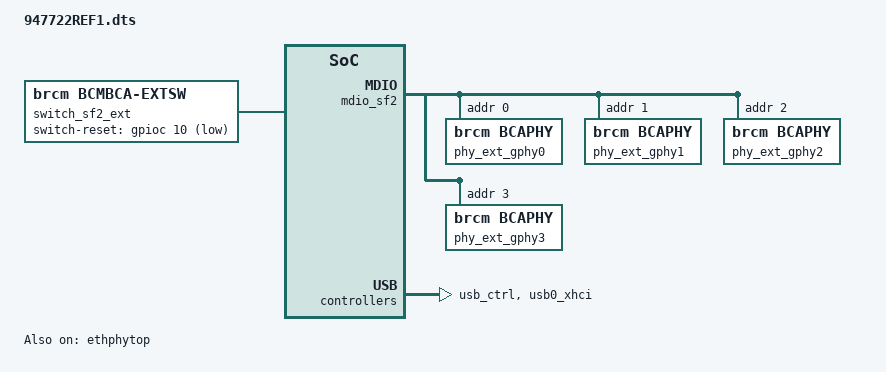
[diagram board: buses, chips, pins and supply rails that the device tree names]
#include "6765.dtsi"

/ {

	memory_controller {
		memcfg = <(BP_DDR_TYPE_DDR4       | \
			BP_DDR_SPEED_1600_22_22_22    | \
			BP_DDR_TOTAL_SIZE_2048MB      | \
			BP_DDR_DEVICE_WIDTH_16        | \
			BP_DDR_TOTAL_WIDTH_16BIT      | \
			BP_DDR_6765_DEFAULT           | \
			BP_DDR_CONFIG_DEBUG)>;
	};
	
	switch_sf2_ext:0 {
	};
};

&sysport {
    ethsw_ext = <&switch_sf2_ext>;
};

&mdio_sf2 {
       /* Port PHY mapping:
            port_imp -8#0- port_xhy <----> phy_xphy
                      # #
                      ##5- port_sgmii <-> phy_serdes <--> port_ext_imp -8#0- port_ext_gphy0 <--> phy_ext_gphy0
                                                                        # 1- port_ext_gphy1 <--> phy_ext_gphy1
                                                                        # 2- port_ext_gphy2 <--> phy_ext_gphy2
                                                                        ##3- port_ext_gphy3 <--> phy_ext_gphy3
         */
	phy_xphy {
		status = "okay";
	};

	phy_serdes {
		phy-extswitch;
		force-2p5g-10gvco;
		config-speed = <2500>;
		status = "okay";
	};

	/* PHYs on external SF2 switch */
	phy_ext_gphy0:phy_ext_gphy0 {
		compatible = "brcm,bcaphy";
		phy-type = "EGPHY";
		reg = <0>;
		status = "okay";
	};
	phy_ext_gphy1:phy_ext_gphy1 {
		compatible = "brcm,bcaphy";
		phy-type = "EGPHY";
		reg = <1>;
		status = "okay";
	};
	phy_ext_gphy2:phy_ext_gphy2 {
		compatible = "brcm,bcaphy";
		phy-type = "EGPHY";
		reg = <2>;
		status = "okay";
	};
	phy_ext_gphy3:phy_ext_gphy3 {
		compatible = "brcm,bcaphy";
		phy-type = "EGPHY";
		reg = <3>;
		status = "okay";
	};
};

&switch_sf2_ext {                       /* linux/uboot: external sf2 */
	unit = <1>;
	sw-type = "SF2_SW";

	compatible = "brcm,bcmbca-extsw";
	extswsgmii_addr = <0x6>;
	switch-reset = <&gpioc 10 GPIO_ACTIVE_LOW>;

	ports {
		#address-cells = <1>;
		#size-cells = <0>;

		port_ext_gphy0 {
			phy-handle = <&phy_ext_gphy0>;
			reg = <0>;
			mac-type = "SF2MAC";
			phy-mode = "gmii";
			gmii-direct;
			status = "okay";
		};
		port_ext_gphy1 {
			phy-handle = <&phy_ext_gphy1>;
			reg = <1>;
			mac-type = "SF2MAC";
			phy-mode = "gmii";
			gmii-direct;
			status = "okay";
		};
		port_ext_gphy2 {
			phy-handle = <&phy_ext_gphy2>;
			reg = <2>;
			mac-type = "SF2MAC";
			phy-mode = "gmii";
			gmii-direct;
			status = "okay";
		};
		port_ext_gphy3 {
			phy-handle = <&phy_ext_gphy3>;
			reg = <3>;
			mac-type = "SF2MAC";
			phy-mode = "gmii";
			gmii-direct;
			status = "okay";
		};
		port_ext_imp {
			management;                     /* sf2_ext.p8 <--> root.p5  when P8_SGMII_SEL=1 */
			reg = <8>;
			mac-type = "SF2MAC";
			shrink-ipg;
			phy-mode = "gmii";
			gmii-direct;
			status = "okay";
		};
	};
};

&ethphytop {
    xphy0-enabled;
    status = "okay";
};

&switch0 {

	ports {
		port_xphy {
			phy-handle = <&phy_xphy>;
			status = "okay";
		};
		port_sgmii {
			phy-handle = <&phy_serdes>;
			link = <&switch_sf2_ext>;
			shrink-ipg;
			status = "okay";
		};
	};
};

&usb_ctrl {
	pinctrl-names="default";
	pinctrl-0 = <&usb0_pwr_pins &usb1_pwr_pins>;
	status = "okay";
	xhci-enable;
	pwron-bias-pull-up;
};

&usb0_xhci {
	status = "okay";
};

